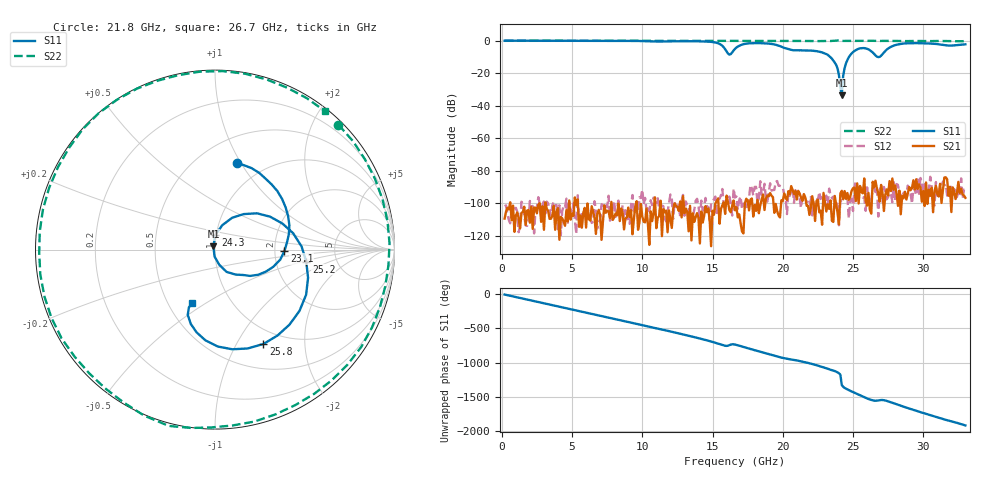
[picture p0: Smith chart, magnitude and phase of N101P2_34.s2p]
# GHZ S RI R 50
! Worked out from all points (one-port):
!   329 points, 200 MHz to 33 GHz, reference 50 ohm
!   lowest |S11| = -33.6 dB at 24.2 GHz (marker M1), VSWR 1.04, Z = 49.1 + j1.85 ohm
!   |S11| at or under -10 dB: 23.37 GHz to 24.72 GHz (1.341 GHz wide, 5.58 % of centre); 26.76808 GHz to 26.86942 GHz (101.3 MHz wide, 0.378 % of centre)
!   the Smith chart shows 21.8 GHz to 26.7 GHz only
!   S11 on the Smith chart (normalised r, x): 21.8 GHz: 0.75, +0.96; 23.1 GHz: 2.26, -0.04; 24.3 GHz: 0.99, +0.17; 25.2 GHz: 2.99, -0.54; 25.8 GHz: 0.80, -1.30; 26.7 GHz: 0.66, -0.44
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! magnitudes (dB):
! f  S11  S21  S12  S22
! 200 MHz  0.0  -109.3  -101.7  0.0
! 5.7 GHz  0.0  -114.9  -104.8  -0.1
! 11.2 GHz  -0.5  -107.9  -103.5  -0.1
! 15.1 GHz  -0.9  -107.0  -97.5  -0.1
! 15.7 GHz  -3.2  -101.1  -91.1  -0.1
! 16.2 GHz  -8.6  -104.1  -95.8  -0.1
! 16.6 GHz  -5.0  -104.3  -96.4  -0.1
! 17.2 GHz  -2.2  -118.4  -100.1  -0.1
! 18.4 GHz  -1.5  -101.2  -86.4  -0.2
! 21.8 GHz  -6.1  -101.5  -99.0  -0.2
! 22.1 GHz  -6.1  -95.6  -107.3  -0.2
! 23.1 GHz  -8.2  -105.0  -95.2  -0.2
! 23.9 GHz  -17.1  -105.8  -99.2  0.1
! 24.2 GHz  -33.6  -92.3  -98.0  -0.1
! 24.3 GHz  -21.6  -97.5  -98.8  -0.1
! 24.6 GHz  -11.9  -93.6  -96.6  -0.1
! 25.2 GHz  -5.8  -98.6  -86.4  -0.1
! 25.8 GHz  -4.6  -84.7  -96.0  0.0
! 26.7 GHz  -9.8  -90.9  -89.7  -0.1
! 27.6 GHz  -4.3  -86.3  -93.8  -0.1
! 28.8 GHz  -1.6  -97.6  -94.0  -0.3
! 33 GHz  -2.2  -96.6  -91.5  -0.3
